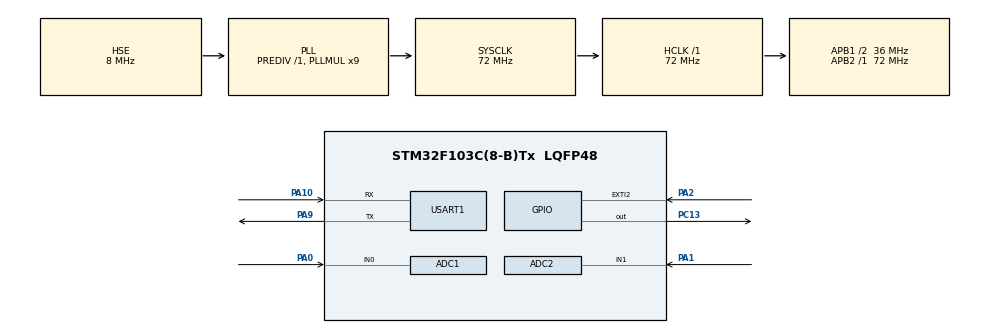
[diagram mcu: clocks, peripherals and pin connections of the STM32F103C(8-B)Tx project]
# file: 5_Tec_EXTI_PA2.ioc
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ADC1.Channel-0\#ChannelRegularConversion=ADC_CHANNEL_0
ADC1.NbrOfConversionFlag=1
ADC1.Rank-0\#ChannelRegularConversion=1
ADC1.SamplingTime-0\#ChannelRegularConversion=ADC_SAMPLETIME_1CYCLE_5
ADC1.master=1
ADC2.Channel-0\#ChannelRegularConversion=ADC_CHANNEL_1
ADC2.NbrOfConversionFlag=1
ADC2.Rank-0\#ChannelRegularConversion=1
ADC2.SamplingTime-0\#ChannelRegularConversion=ADC_SAMPLETIME_1CYCLE_5
Mcu.Family=STM32F1
Mcu.Name=STM32F103C(8-B)Tx
Mcu.Package=LQFP48
NVIC.EXTI2_IRQn=true\:0\:0\:false\:false\:true\:true\:true\:true
NVIC.PriorityGroup=NVIC_PRIORITYGROUP_4
PA0-WKUP.Signal=ADCx_IN0
PA1.Signal=ADCx_IN1
PA10.Mode=Asynchronous
PA10.Signal=USART1_RX
PA13.Mode=Serial_Wire
PA13.Signal=SYS_JTMS-SWDIO
PA14.Mode=Serial_Wire
PA14.Signal=SYS_JTCK-SWCLK
PA2.GPIO_ModeDefaultEXTI=GPIO_MODE_IT_FALLING
PA2.GPIO_PuPd=GPIO_PULLUP
PA2.Signal=GPXTI2
PA9.Mode=Asynchronous
PA9.Signal=USART1_TX
PC13-TAMPER-RTC.PinState=GPIO_PIN_SET
PC13-TAMPER-RTC.Signal=GPIO_Output
PD0-OSC_IN.Mode=HSE-External-Oscillator
PD0-OSC_IN.Signal=RCC_OSC_IN
PD1-OSC_OUT.Mode=HSE-External-Oscillator
PD1-OSC_OUT.Signal=RCC_OSC_OUT
ProjectManager.HeapSize=0x200
ProjectManager.StackSize=0x400
ProjectManager.TargetToolchain=MDK-ARM V5.32
RCC.ADCPresc=RCC_ADCPCLK2_DIV6
RCC.AHBFreq_Value=72000000
RCC.APB1CLKDivider=RCC_HCLK_DIV2
RCC.APB1Freq_Value=36000000
RCC.APB1TimFreq_Value=72000000
RCC.APB2Freq_Value=72000000
RCC.APB2TimFreq_Value=72000000
RCC.EnbaleCSS=true
RCC.HCLKFreq_Value=72000000
RCC.PLLMUL=RCC_PLL_MUL9
RCC.PLLSourceVirtual=RCC_PLLSOURCE_HSE
RCC.SYSCLKFreq_VALUE=72000000
RCC.SYSCLKSource=RCC_SYSCLKSOURCE_PLLCLK
RCC.USBFreq_Value=72000000
SH.ADCx_IN0.0=ADC1_IN0,IN0
SH.ADCx_IN1.0=ADC2_IN1,IN1
USART1.VirtualMode=VM_ASYNC
board=custom

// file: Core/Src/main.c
/* USER CODE BEGIN Header */
/**
  ******************************************************************************
  * @file           : main.c
  * @brief          : Main program body
  ******************************************************************************
  * @attention
  *
  * Copyright (c) 2025 STMicroelectronics.
  * All rights reserved.
  *
  * This software is licensed under terms that can be found in the LICENSE file
  * in the root directory of this software component.
  * If no LICENSE file comes with this software, it is provided AS-IS.
  *
  ******************************************************************************
  */
/* USER CODE END Header */
#include "main.h"
#include "adc.h"
#include "usart.h"
#include "gpio.h"

/* USER CODE BEGIN Includes */

#include "stdio.h"

/* USER CODE END Includes */

/* USER CODE BEGIN PV */

uint16_t x_raw = 0;
uint16_t y_raw = 0;
volatile uint16_t z_raw = 0;
volatile uint16_t z_cnt = 0;

char tx_buffer[64];

// 【新增】用于消抖的时间戳变量
uint32_t last_button_tick = 0;
const uint32_t DEBOUNCE_TIME_MS = 50; // 消抖时长：50ms

/* USER CODE END PV */

void SystemClock_Config(void);
/* USER CODE BEGIN PFP */

void Lin_adc(void);
void Lin_key(void);

/* USER CODE END PFP */

int main(void)
{

  /* MCU Configuration--------------------------------------------------------*/

  /* Reset of all peripherals, Initializes the Flash interface and the Systick. */
  HAL_Init();

  /* Configure the system clock */
  SystemClock_Config();

  /* Initialize all configured peripherals */
  MX_GPIO_Init();
  MX_ADC1_Init();
  MX_ADC2_Init();
  MX_USART1_UART_Init();

  /* Infinite loop */
  /* USER CODE BEGIN WHILE */
  while (1)
  {
    Lin_adc();
    Lin_key();

    // 通过串口发送数据
      int len = snprintf(tx_buffer, sizeof(tx_buffer),
                        "X: %d | Y: %d | Z: %d \r\n",
                         x_raw, y_raw, z_raw);
      HAL_UART_Transmit(&huart1, (uint8_t*)tx_buffer, len, HAL_MAX_DELAY);

      HAL_Delay(100); // 延时 100ms
    /* USER CODE END WHILE */

  }
}

void SystemClock_Config(void)
{
  RCC_OscInitTypeDef RCC_OscInitStruct = {0};
  RCC_ClkInitTypeDef RCC_ClkInitStruct = {0};
  RCC_PeriphCLKInitTypeDef PeriphClkInit = {0};

  /** Initializes the RCC Oscillators according to the specified parameters
  * in the RCC_OscInitTypeDef structure.
  */
  RCC_OscInitStruct.OscillatorType = RCC_OSCILLATORTYPE_HSE;
  RCC_OscInitStruct.HSEState = RCC_HSE_ON;
  RCC_OscInitStruct.HSEPredivValue = RCC_HSE_PREDIV_DIV1;
  RCC_OscInitStruct.HSIState = RCC_HSI_ON;
  RCC_OscInitStruct.PLL.PLLState = RCC_PLL_ON;
  RCC_OscInitStruct.PLL.PLLSource = RCC_PLLSOURCE_HSE;
  RCC_OscInitStruct.PLL.PLLMUL = RCC_PLL_MUL9;
  if (HAL_RCC_OscConfig(&RCC_OscInitStruct) != HAL_OK)
  {
    Error_Handler();
  }

  /** Initializes the CPU, AHB and APB buses clocks
  */
  RCC_ClkInitStruct.ClockType = RCC_CLOCKTYPE_HCLK|RCC_CLOCKTYPE_SYSCLK
                              |RCC_CLOCKTYPE_PCLK1|RCC_CLOCKTYPE_PCLK2;
  RCC_ClkInitStruct.SYSCLKSource = RCC_SYSCLKSOURCE_PLLCLK;
  RCC_ClkInitStruct.AHBCLKDivider = RCC_SYSCLK_DIV1;
  RCC_ClkInitStruct.APB1CLKDivider = RCC_HCLK_DIV2;
  RCC_ClkInitStruct.APB2CLKDivider = RCC_HCLK_DIV1;

  if (HAL_RCC_ClockConfig(&RCC_ClkInitStruct, FLASH_LATENCY_2) != HAL_OK)
  {
    Error_Handler();
  }
  PeriphClkInit.PeriphClockSelection = RCC_PERIPHCLK_ADC;
  PeriphClkInit.AdcClockSelection = RCC_ADCPCLK2_DIV6;
  if (HAL_RCCEx_PeriphCLKConfig(&PeriphClkInit) != HAL_OK)
  {
    Error_Handler();
  }

  /** Enables the Clock Security System
  */
  HAL_RCC_EnableCSS();
}

/* USER CODE BEGIN 4 */

void HAL_GPIO_EXTI_Callback(uint16_t GPIO_Pin)
{
  if (GPIO_Pin == GPIO_PIN_2)
  {
    z_cnt++;
    // HAL_GPIO_TogglePin(GPIOC, GPIO_PIN_13);
  }
}

void Lin_adc(void)
{
    // 启动 ADC 转换
    HAL_ADC_Start(&hadc1);
    HAL_ADC_Start(&hadc2); // 启动 ADC 转换

    // 等待转换完成并读取值
    if (HAL_ADC_PollForConversion(&hadc1, 10) == HAL_OK)
    {
      // HAL_GPIO_TogglePin(GPIOC, GPIO_PIN_13);
      x_raw = HAL_ADC_GetValue(&hadc1);
    }

    if (HAL_ADC_PollForConversion(&hadc2, 10) == HAL_OK)
    {
      // HAL_GPIO_TogglePin(GPIOC, GPIO_PIN_13);
      y_raw = HAL_ADC_GetValue(&hadc2);
    }

    // 停止 ADC 转换
    HAL_ADC_Stop(&hadc1);
    HAL_ADC_Stop(&hadc2);
}

void Lin_key(void)
{
    // 简单的按键消抖处理
        if (z_cnt > 0 && (HAL_GetTick() - last_button_tick) >= DEBOUNCE_TIME_MS)
    {
        // 成功通过消抖检查
        z_raw = 1; // 设置按键标志位
        z_cnt = 0; // 清除计数器，等待下一次按键事件
        last_button_tick = HAL_GetTick(); // 更新时间戳
        HAL_GPIO_TogglePin(GPIOC, GPIO_PIN_13); // 切换 LED 状态，作为按键反馈
    }
    else
    {
        z_raw = 0; // 如果没有通过消抖，或者没有按键，则标志位为0

        // 注意：z_cnt > 0 但未通过消抖时，z_cnt不会清零。
        // 这意味着在消抖时间内，后续的按键都会被忽略，直到 DEBOUNCE_TIME_MS 过去。
        // 这是一种常见的，相对保守的消抖策略。
    }
}
/* USER CODE END 4 */

void Error_Handler(void)
{
  __disable_irq();
  while (1)
  {
  }
}
